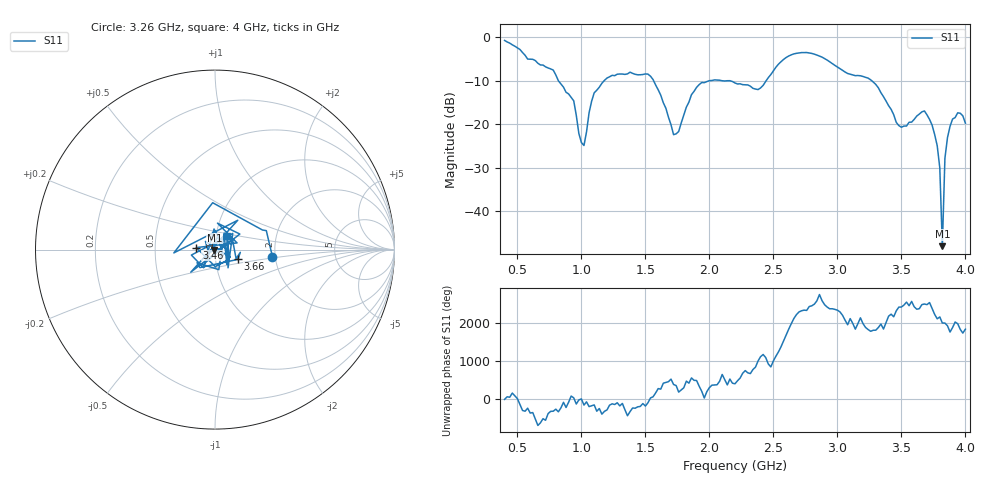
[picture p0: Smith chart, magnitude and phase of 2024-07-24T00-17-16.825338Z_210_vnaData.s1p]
!Created with skrf (http://scikit-rf.org).
# Hz S RI R 50.0
!freq ReS11 ImS11
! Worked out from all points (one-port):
!   181 points, 400 MHz to 4 GHz, reference 50 ohm
!   lowest |S11| = -48.0 dB at 3.82 GHz (marker M1), VSWR 1.01, Z = 49.7 - j0.21 ohm
!   |S11| at or under -10 dB: 819.5 MHz to 1.178 GHz (358.9 MHz wide, 35.9 % of centre); 1.564 GHz to 2.004 GHz (440.3 MHz wide, 24.7 % of centre); 3.267 GHz to end of sweep (the widest 3 of 4)
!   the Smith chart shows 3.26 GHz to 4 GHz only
!   S11 on the Smith chart (normalised r, x): 3.26 GHz: 1.93, -0.17; 3.46 GHz: 0.81, +0.02; 3.66 GHz: 1.28, -0.14; 4 GHz: 1.13, +0.18
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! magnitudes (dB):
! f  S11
! 400 MHz  -0.8
! 780 MHz  -7.6
! 860 MHz  -11.5
! 940 MHz  -14.6
! 980 MHz  -22.1
! 1.02 GHz  -24.9
! 1.1 GHz  -12.8
! 1.3 GHz  -8.5
! 1.54 GHz  -9.0
! 1.72 GHz  -22.4
! 1.76 GHz  -21.7
! 1.92 GHz  -10.9
! 2.2 GHz  -10.5
! 2.38 GHz  -12.1
! 2.66 GHz  -3.9
! 3.1 GHz  -8.5
! 3.26 GHz  -9.8
! 3.46 GHz  -19.6
! 3.56 GHz  -19.6
! 3.66 GHz  -17.2
! 3.72 GHz  -18.9
! 3.78 GHz  -24.9
! 3.8 GHz  -30.0
! 3.82 GHz  -48.0
! 3.84 GHz  -27.8
! 3.86 GHz  -23.1
! 3.94 GHz  -17.4
! 4 GHz  -19.7
